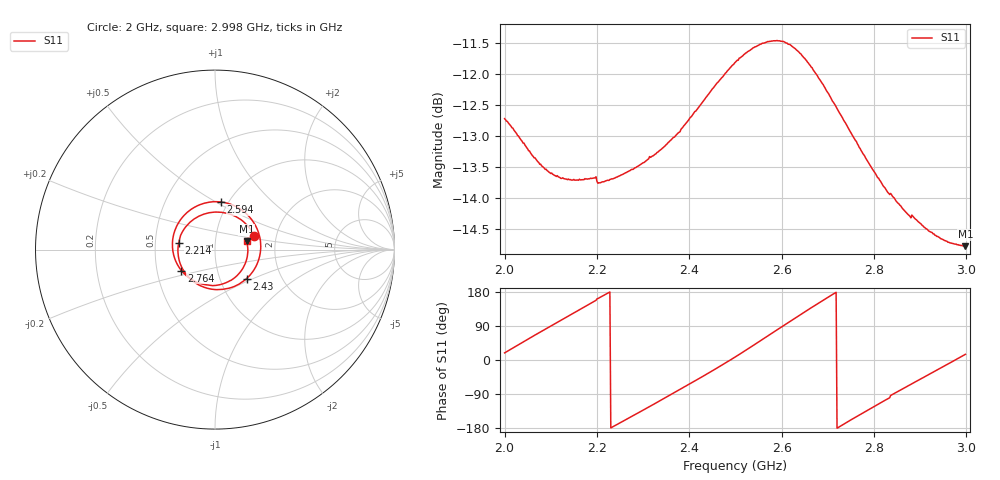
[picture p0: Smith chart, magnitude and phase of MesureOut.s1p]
# MHz S MA R 50.0
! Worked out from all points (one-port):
!   500 points, 2 GHz to 2.998 GHz, reference 50 ohm
!   lowest |S11| = -14.8 dB at 2.998 GHz (marker M1), VSWR 1.45, Z = 71 + j6.93 ohm
!   |S11| at or under -10 dB: start of sweep to end of sweep
!   S11 on the Smith chart (normalised r, x): 2 GHz: 1.54, +0.24; 2.214 GHz: 0.66, +0.05; 2.43 GHz: 1.34, -0.46; 2.594 GHz: 0.93, +0.53; 2.764 GHz: 0.67, -0.16; 2.998 GHz: 1.42, +0.14
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2000  0.2313 18.8
2036  0.2222 44.6
2064  0.215 64.6
2094  0.2097 85.5
2126  0.2071 107.5
2174  0.2068 140.9
2214  0.2056 170.0
2250  0.208 -165.8
2284  0.2111 -143.0
2318  0.2155 -120.1
2376  0.2252 -80.5
2430  0.2388 -42.7
2466  0.2485 -16.9
2500  0.257 8.4
2542  0.2644 41.2
2570  0.267 63.4
2594  0.2674 82.6
2624  0.2644 106.5
2656  0.257 131.6
2686  0.2476 154.7
2718  0.2364 178.6
2750  0.2253 -158.1
2764  0.2207 -148.1
2818  0.2047 -110.4
2842  0.1998 -89.6
2874  0.1934 -68.1
2938  0.1857 -25.5
2998  0.1824 15.0
